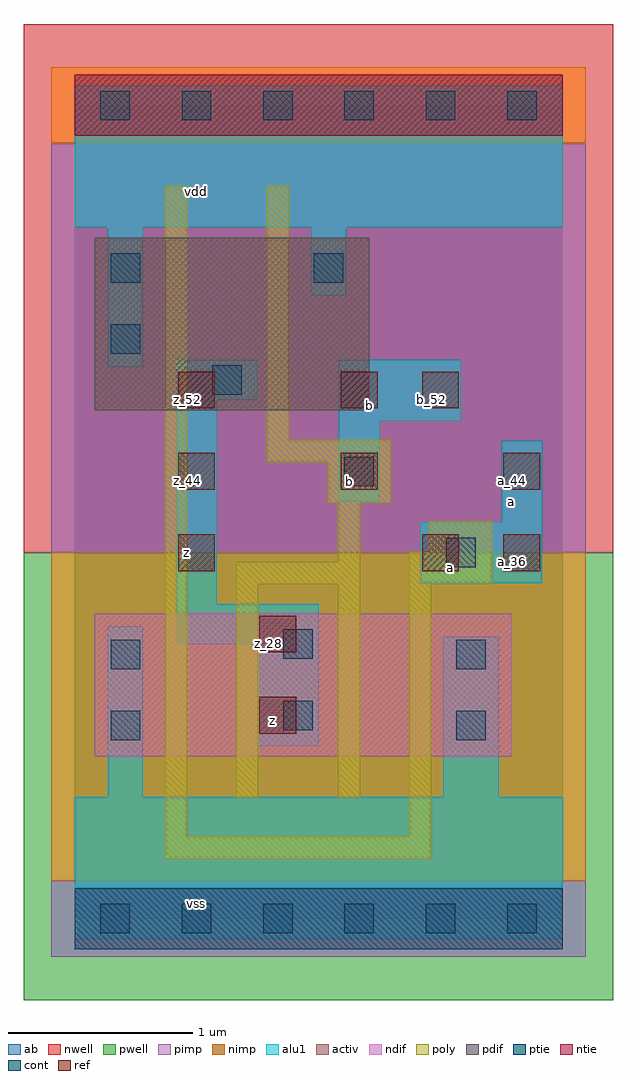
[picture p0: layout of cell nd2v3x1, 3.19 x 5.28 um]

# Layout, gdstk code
import gdstk
lib = gdstk.Library(unit=1e-6, precision=2.5e-09)
def R(c, l, rs):  # rectangles x0, y0, x1, y1
    for r in rs: c.add(gdstk.rectangle(r[:2], r[2:], *l))
def A(c, l, x, y, w, h, nx, ny, dx, dy):  # array of equal rectangles
    R(c, l, [(x+i*dx, y+j*dy, x+i*dx+w, y+j*dy+h) for i in range(nx) for j in range(ny)])
ndif = (3, 0)
pdif = (4, 0)
ntie = (5, 0)
ptie = (6, 0)
ref = (24, 0)
cont = (25, 0)
pwell = (41, 0)
nwell = (42, 0)
activ = (43, 0)
pimp = (44, 0)
nimp = (45, 0)
poly = (46, 0)
alu1 = (49, 0)
ab = (63, 0)

nd2v3x1 = lib.new_cell('nd2v3x1')
R(nd2v3x1, ndif, [(0.11,0.88,2.365,1.65)])
R(nd2v3x1, pdif, [(0.11,2.75,1.595,3.685)])
R(nd2v3x1, ntie, [(0,4.235,2.64,4.565)])
R(nd2v3x1, ptie, [(0,-0.165,2.64,0.165)])
A(nd2v3x1, ref, 0.56, 2.32, 0.2, 0.2, 3, 1, 0.88, 0)
R(nd2v3x1, ref, [(1,1,1.2,1.2), (1,1.44,1.2,1.64), (0.56,1.88,0.76,2.08), (1.88,1.88,2.08,2.08), (2.32,1.88,2.52,2.08), (0.56,2.76,0.76,2.96), (1.44,2.76,1.64,2.96), (1.88,2.76,2.08,2.96)])
A(nd2v3x1, cont, 0.14, -0.08, 0.16, 0.16, 6, 2, 0.44, 4.4)
R(nd2v3x1, cont, [(0.195,0.965,0.355,1.125), (2.065,0.965,2.225,1.125), (1.13,1.02,1.29,1.18), (0.195,1.35,0.355,1.51), (2.065,1.35,2.225,1.51), (1.13,1.405,1.29,1.565), (2.01,1.9,2.17,2.06), (1.46,2.34,1.62,2.5), (0.745,2.835,0.905,2.995), (0.195,3.055,0.355,3.215), (0.195,3.44,0.355,3.6), (1.295,3.44,1.455,3.6)])
R(nd2v3x1, pwell, [(-0.275,-0.44,2.915,1.98)])
R(nd2v3x1, nwell, [(-0.275,1.98,2.915,4.84)])
R(nd2v3x1, activ, [(0,-0.165,2.64,0.165), (0.11,0.88,2.365,1.65), (0.11,2.75,1.595,3.685), (0,4.235,2.64,4.565)])
R(nd2v3x1, pimp, [(-0.125,-0.205,2.765,0.205), (-0.125,1.98,2.765,4.195)])
R(nd2v3x1, nimp, [(-0.125,0.205,2.765,1.98), (-0.125,4.195,2.765,4.605)])
R(nd2v3x1, poly, [(0.49,0.325,1.93,0.445), (0.49,0.445,0.61,3.965), (1.81,0.445,1.93,1.81), (0.875,0.655,0.995,1.81), (1.425,0.655,1.545,1.81), (0.875,1.81,1.545,1.93), (1.81,1.81,2.26,1.985), (1.425,1.93,1.545,2.25), (1.92,1.985,2.26,2.15), (1.37,2.25,1.71,2.47), (1.04,2.47,1.71,2.59), (1.04,2.59,1.16,3.965)])
R(nd2v3x1, alu1, [(0,-0.11,2.64,0.66), (0.18,0.66,0.37,1.58), (1.995,0.66,2.295,1.525), (0.99,0.935,1.32,1.485), (0.55,1.485,1.32,1.705), (0.55,1.705,0.77,2.805), (1.87,1.815,2.53,2.145), (2.31,2.145,2.53,2.585), (1.43,2.255,1.65,2.695), (1.43,2.695,2.09,3.025), (0.55,2.805,0.99,3.025), (0.18,2.985,0.37,3.74), (1.28,3.37,1.47,3.74), (0,3.74,2.64,4.51)])
R(nd2v3x1, ab, [(0,0,2.64,4.4)])
nd2v3x1.add(gdstk.Label('vss', (0.66,0.0825), layer=49, texttype=0))
nd2v3x1.add(gdstk.Label('z', (1.0725,1.0725), layer=49, texttype=0))
nd2v3x1.add(gdstk.Label('a', (2.035,1.8975), layer=49, texttype=0))
nd2v3x1.add(gdstk.Label('a', (2.365,2.255), layer=49, texttype=0))
nd2v3x1.add(gdstk.Label('b', (1.485,2.365), layer=49, texttype=0))
nd2v3x1.add(gdstk.Label('b', (1.595,2.7775), layer=49, texttype=0))
nd2v3x1.add(gdstk.Label('z', (0.605,1.98), layer=49, texttype=0))
nd2v3x1.add(gdstk.Label('vdd', (0.66,3.9325), layer=49, texttype=0))
nd2v3x1.add(gdstk.Label('z_36', (0.61,1.93), layer=24, texttype=0))
nd2v3x1.add(gdstk.Label('z_44', (0.61,2.37), layer=24, texttype=0))
nd2v3x1.add(gdstk.Label('b_52', (1.49,2.81), layer=24, texttype=0))
nd2v3x1.add(gdstk.Label('b_52', (1.93,2.81), layer=24, texttype=0))
nd2v3x1.add(gdstk.Label('b_44', (1.49,2.37), layer=24, texttype=0))
nd2v3x1.add(gdstk.Label('z_52', (0.61,2.81), layer=24, texttype=0))
nd2v3x1.add(gdstk.Label('z_20', (1.05,1.05), layer=24, texttype=0))
nd2v3x1.add(gdstk.Label('z_28', (1.05,1.49), layer=24, texttype=0))
nd2v3x1.add(gdstk.Label('a_36', (1.93,1.93), layer=24, texttype=0))
nd2v3x1.add(gdstk.Label('a_36', (2.37,1.93), layer=24, texttype=0))
nd2v3x1.add(gdstk.Label('a_44', (2.37,2.37), layer=24, texttype=0))

lib.write_gds('nd2v3x1.gds')
